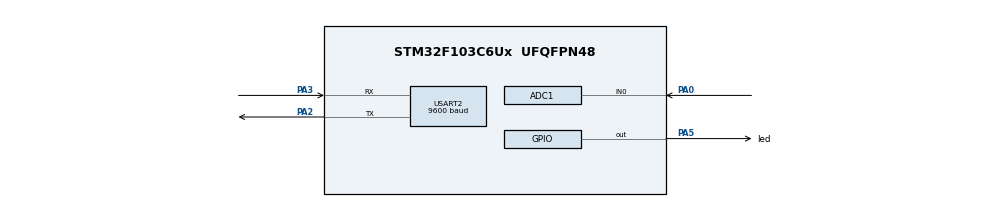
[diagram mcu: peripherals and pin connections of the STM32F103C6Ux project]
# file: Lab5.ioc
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ADC1.Channel-0\#ChannelRegularConversion=ADC_CHANNEL_0
ADC1.ContinuousConvMode=ENABLE
ADC1.NbrOfConversionFlag=1
ADC1.Rank-0\#ChannelRegularConversion=1
ADC1.SamplingTime-0\#ChannelRegularConversion=ADC_SAMPLETIME_1CYCLE_5
ADC1.master=1
Mcu.Family=STM32F1
Mcu.Name=STM32F103C6Ux
Mcu.Package=UFQFPN48
NVIC.PriorityGroup=NVIC_PRIORITYGROUP_4
NVIC.TIM2_IRQn=true\:0\:0\:false\:false\:true\:true\:true
NVIC.USART2_IRQn=true\:0\:0\:false\:false\:true\:true\:true
PA0-WKUP.Signal=ADCx_IN0
PA2.Mode=Asynchronous
PA2.Signal=USART2_TX
PA3.Mode=Asynchronous
PA3.Signal=USART2_RX
PA5.GPIO_Label=led
PA5.Signal=GPIO_Output
ProjectManager.HeapSize=0x200
ProjectManager.StackSize=0x400
ProjectManager.TargetToolchain=STM32CubeIDE
RCC.APB1Freq_Value=8000000
RCC.APB2Freq_Value=8000000
SH.ADCx_IN0.0=ADC1_IN0,IN0
TIM2.Period=9
TIM2.Prescaler=7999
USART2.BaudRate=9600
USART2.VirtualMode=VM_ASYNC
VP_SYS_VS_ND.Mode=No_Debug
VP_TIM2_VS_ClockSourceINT.Mode=Internal
board=custom

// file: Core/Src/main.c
/* USER CODE BEGIN Header */
/**
  ******************************************************************************
  * @file           : main.c
  * @brief          : Main program body
  ******************************************************************************
  * @attention
  *
  * <h2><center>&copy; Copyright (c) 2024 STMicroelectronics.
  * All rights reserved.</center></h2>
  *
  * This software component is licensed by ST under BSD 3-Clause license,
  * the "License"; You may not use this file except in compliance with the
  * License. You may obtain a copy of the License at:
  *                        opensource.org/licenses/BSD-3-Clause
  *
  ******************************************************************************
  */
/* USER CODE END Header */
#include "main.h"
#include "stdio.h"
#include "sofware_timer.h"
#include "string.h"

ADC_HandleTypeDef hadc1;

TIM_HandleTypeDef htim2;

UART_HandleTypeDef huart2;

void SystemClock_Config(void);
static void MX_GPIO_Init(void);
static void MX_ADC1_Init(void);
static void MX_USART2_UART_Init(void);
static void MX_TIM2_Init(void);

/* USER CODE BEGIN 0 */
uint8_t temp = 0;

#define UA_IDLE 61
#define UA_TRANSMIT 62

#define COM_IDLE 50
#define COM_rst1 51
#define COM_rst2 52
#define COM_rst3 53
#define COM_rst4 54
#define COM_rst5 55
#define COM_rst6 56
#define COM_wait 57
#define COM_ok1 58
#define COM_ok2 59
#define COM_ok3 60

#define MAX_BUFFER_SIZE  30

char buffer[MAX_BUFFER_SIZE] ;
uint8_t index_buffer = 0;
uint8_t buffer_flag = 0;
uint8_t command_flag = 0;
uint8_t adc_flag = 0;
uint32_t ADC_value = 0;
int status_ua = 0;
int status_com = 0;

char str[50];

void command_parser_fsm () {
	int index;
	if (index_buffer == 0) index = MAX_BUFFER_SIZE - 1;
	else index = index_buffer - 1;
    switch(status_com) {
        case COM_IDLE:
        	if ( command_flag == 1 ) {
        		status_com = COM_rst1;
        		command_flag = 0;
        	}
            break;
        case COM_rst1:
        	if ( buffer[index] == '!' ) {
        		HAL_UART_Transmit(&huart2, (uint8_t *)&buffer[index], 1, 1000);
        		status_com = COM_rst2;
        	}
        	else status_com = COM_IDLE;
        	break;
        case COM_rst2:
        	if ( buffer[index] == 'R' ) {
        		HAL_UART_Transmit(&huart2, (uint8_t *)&buffer[index], 1, 1000);
        		status_com = COM_rst3;
        	}
        	else status_com = COM_IDLE;
        	break;
        case COM_rst3:
        	if ( buffer[index] == 'S' ) {
        		HAL_UART_Transmit(&huart2, (uint8_t *)&buffer[index], 1, 1000);
        		status_com = COM_rst4;
        	}
        	else status_com = COM_IDLE;
        	break;
        case COM_rst4:
        	if ( buffer[index] == 'T' ) {
        		HAL_UART_Transmit(&huart2, (uint8_t *)&buffer[index], 1, 1000);
        		status_com = COM_rst5;
        	}
        	else status_com = COM_IDLE;
        	break;
        case COM_rst5:
        	if ( buffer[index] == '#' ) {
        		HAL_UART_Transmit(&huart2, (uint8_t *)&buffer[index], 1, 1000);
        		adc_flag = 1;
        		status_com = COM_wait;
        	}
        	else status_com = COM_IDLE;
        	break;
        case COM_wait:
        	if ( buffer[index] == '!' ) {
        		  HAL_UART_Transmit(&huart2, (uint8_t *)&buffer[index], 1, 1000);
        	      status_com = COM_ok1;
        	 }
        	break;
        case COM_ok1:
        	if ( buffer[index] == 'O' ) {
        	      HAL_UART_Transmit(&huart2, (uint8_t *)&buffer[index], 1, 1000);
        	      status_com = COM_ok2;
        	 }
        	else status_com = COM_wait;
        	break;
        case COM_ok2:
        	if ( buffer[index] == 'K' ) {
        	      HAL_UART_Transmit(&huart2, (uint8_t *)&buffer[index], 1, 1000);
        	      status_com = COM_ok3;
        	 }
        	else status_com = COM_wait;
        	break;
        case COM_ok3:
        	if ( buffer[index] == '#' ) {
        	      HAL_UART_Transmit(&huart2, (uint8_t *)&buffer[index], 1, 1000);
        	      status_com = COM_IDLE;
        	 }
        	else status_com = COM_wait;
        	break;
        default:
        	status_com = COM_IDLE;
            break;
    }
}

void uart_communiation_fsm () {
    switch(status_ua) {
        case UA_IDLE:
        	if (status_com == COM_wait) adc_flag = 1;
        	if ( adc_flag == 1 ){
        		if (timer1_flag == 1) {
        			setTimer1(300);
        			ADC_value =  HAL_ADC_GetValue(&hadc1);
        			HAL_UART_Transmit(&huart2, (void *)str, sprintf(str, "\r!ADC=%d#\r\n", ADC_value), 1000);
        		}

        		adc_flag = 0;
        	}
        	break;

        case UA_TRANSMIT:
                command_flag = 1;
                status_ua = UA_IDLE;

            break;
        default:
            status_ua = UA_IDLE;
            break;
    }
}

void HAL_UART_RxCpltCallback(UART_HandleTypeDef *huart){

		if(huart->Instance == USART2){
			//HAL_UART_Transmit(&huart2, &temp, 3, 50);
			buffer[index_buffer++] = temp;
			if(index_buffer == 30) index_buffer = 0;

			buffer_flag = 1;
			HAL_UART_Receive_IT(&huart2, &temp, 1);
			status_ua = UA_TRANSMIT;
		}

}
/* USER CODE END 0 */

int main(void)
{

  /* MCU Configuration--------------------------------------------------------*/

  /* Reset of all peripherals, Initializes the Flash interface and the Systick. */
  HAL_Init();

  /* Configure the system clock */
  SystemClock_Config();

  /* Initialize all configured peripherals */
  MX_GPIO_Init();
  MX_ADC1_Init();
  MX_USART2_UART_Init();
  MX_TIM2_Init();
  /* USER CODE BEGIN 2 */
  HAL_UART_Receive_IT(&huart2, &temp, 1);
  HAL_TIM_Base_Start_IT(&htim2);
  HAL_ADC_Start(&hadc1);
  /* USER CODE END 2 */

  /* Infinite loop */
  /* USER CODE BEGIN WHILE */
  status_com = COM_IDLE;
  status_ua = UA_IDLE;
  while (1)
  {
	  	 if(buffer_flag == 1){
	        command_parser_fsm();
	        buffer_flag = 0;
	    }
	    uart_communiation_fsm();

    /* USER CODE END WHILE */

  }
}

void SystemClock_Config(void)
{
  RCC_OscInitTypeDef RCC_OscInitStruct = {0};
  RCC_ClkInitTypeDef RCC_ClkInitStruct = {0};
  RCC_PeriphCLKInitTypeDef PeriphClkInit = {0};

  /** Initializes the RCC Oscillators according to the specified parameters
  * in the RCC_OscInitTypeDef structure.
  */
  RCC_OscInitStruct.OscillatorType = RCC_OSCILLATORTYPE_HSI;
  RCC_OscInitStruct.HSIState = RCC_HSI_ON;
  RCC_OscInitStruct.HSICalibrationValue = RCC_HSICALIBRATION_DEFAULT;
  RCC_OscInitStruct.PLL.PLLState = RCC_PLL_NONE;
  if (HAL_RCC_OscConfig(&RCC_OscInitStruct) != HAL_OK)
  {
    Error_Handler();
  }
  /** Initializes the CPU, AHB and APB buses clocks
  */
  RCC_ClkInitStruct.ClockType = RCC_CLOCKTYPE_HCLK|RCC_CLOCKTYPE_SYSCLK
                              |RCC_CLOCKTYPE_PCLK1|RCC_CLOCKTYPE_PCLK2;
  RCC_ClkInitStruct.SYSCLKSource = RCC_SYSCLKSOURCE_HSI;
  RCC_ClkInitStruct.AHBCLKDivider = RCC_SYSCLK_DIV1;
  RCC_ClkInitStruct.APB1CLKDivider = RCC_HCLK_DIV1;
  RCC_ClkInitStruct.APB2CLKDivider = RCC_HCLK_DIV1;

  if (HAL_RCC_ClockConfig(&RCC_ClkInitStruct, FLASH_LATENCY_0) != HAL_OK)
  {
    Error_Handler();
  }
  PeriphClkInit.PeriphClockSelection = RCC_PERIPHCLK_ADC;
  PeriphClkInit.AdcClockSelection = RCC_ADCPCLK2_DIV2;
  if (HAL_RCCEx_PeriphCLKConfig(&PeriphClkInit) != HAL_OK)
  {
    Error_Handler();
  }
}

static void MX_ADC1_Init(void)
{

  ADC_ChannelConfTypeDef sConfig = {0};

  /** Common config
  */
  hadc1.Instance = ADC1;
  hadc1.Init.ScanConvMode = ADC_SCAN_DISABLE;
  hadc1.Init.ContinuousConvMode = ENABLE;
  hadc1.Init.DiscontinuousConvMode = DISABLE;
  hadc1.Init.ExternalTrigConv = ADC_SOFTWARE_START;
  hadc1.Init.DataAlign = ADC_DATAALIGN_RIGHT;
  hadc1.Init.NbrOfConversion = 1;
  if (HAL_ADC_Init(&hadc1) != HAL_OK)
  {
    Error_Handler();
  }
  /** Configure Regular Channel
  */
  sConfig.Channel = ADC_CHANNEL_0;
  sConfig.Rank = ADC_REGULAR_RANK_1;
  sConfig.SamplingTime = ADC_SAMPLETIME_1CYCLE_5;
  if (HAL_ADC_ConfigChannel(&hadc1, &sConfig) != HAL_OK)
  {
    Error_Handler();
  }

}

static void MX_TIM2_Init(void)
{

  TIM_ClockConfigTypeDef sClockSourceConfig = {0};
  TIM_MasterConfigTypeDef sMasterConfig = {0};

  htim2.Instance = TIM2;
  htim2.Init.Prescaler = 7999;
  htim2.Init.CounterMode = TIM_COUNTERMODE_UP;
  htim2.Init.Period = 9;
  htim2.Init.ClockDivision = TIM_CLOCKDIVISION_DIV1;
  htim2.Init.AutoReloadPreload = TIM_AUTORELOAD_PRELOAD_DISABLE;
  if (HAL_TIM_Base_Init(&htim2) != HAL_OK)
  {
    Error_Handler();
  }
  sClockSourceConfig.ClockSource = TIM_CLOCKSOURCE_INTERNAL;
  if (HAL_TIM_ConfigClockSource(&htim2, &sClockSourceConfig) != HAL_OK)
  {
    Error_Handler();
  }
  sMasterConfig.MasterOutputTrigger = TIM_TRGO_RESET;
  sMasterConfig.MasterSlaveMode = TIM_MASTERSLAVEMODE_DISABLE;
  if (HAL_TIMEx_MasterConfigSynchronization(&htim2, &sMasterConfig) != HAL_OK)
  {
    Error_Handler();
  }

}

static void MX_USART2_UART_Init(void)
{

  huart2.Instance = USART2;
  huart2.Init.BaudRate = 9600;
  huart2.Init.WordLength = UART_WORDLENGTH_8B;
  huart2.Init.StopBits = UART_STOPBITS_1;
  huart2.Init.Parity = UART_PARITY_NONE;
  huart2.Init.Mode = UART_MODE_TX_RX;
  huart2.Init.HwFlowCtl = UART_HWCONTROL_NONE;
  huart2.Init.OverSampling = UART_OVERSAMPLING_16;
  if (HAL_UART_Init(&huart2) != HAL_OK)
  {
    Error_Handler();
  }

}

static void MX_GPIO_Init(void)
{
  GPIO_InitTypeDef GPIO_InitStruct = {0};

  /* GPIO Ports Clock Enable */
  __HAL_RCC_GPIOA_CLK_ENABLE();

  /*Configure GPIO pin Output Level */
  HAL_GPIO_WritePin(led_GPIO_Port, led_Pin, GPIO_PIN_RESET);

  /*Configure GPIO pin : led_Pin */
  GPIO_InitStruct.Pin = led_Pin;
  GPIO_InitStruct.Mode = GPIO_MODE_OUTPUT_PP;
  GPIO_InitStruct.Pull = GPIO_NOPULL;
  GPIO_InitStruct.Speed = GPIO_SPEED_FREQ_LOW;
  HAL_GPIO_Init(led_GPIO_Port, &GPIO_InitStruct);

}

/* USER CODE BEGIN 4 */
void HAL_TIM_PeriodElapsedCallback(TIM_HandleTypeDef *htim){
	timerRun();
}
/* USER CODE END 4 */

void Error_Handler(void)
{
  __disable_irq();
  while (1)
  {
  }
}

/************************ (C) COPYRIGHT STMicroelectronics *****END OF FILE****/
